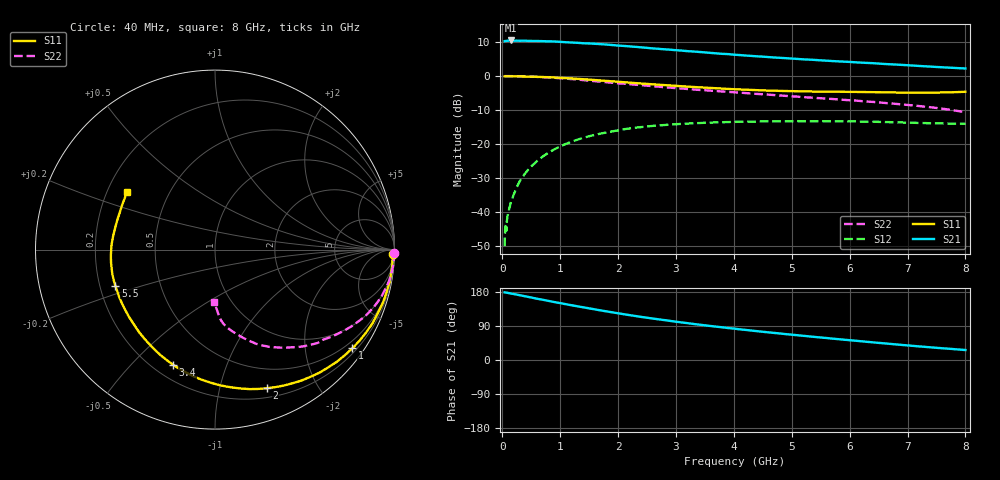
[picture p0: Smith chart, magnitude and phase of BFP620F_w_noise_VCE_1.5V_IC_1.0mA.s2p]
! Infineon Technologies  Discrete & RF Semiconductors
! BFP620F
! VCE =  1.5 V,  IC =  1.0 mA
! Common Emitter S-Parameters:  Dec 2014
# GHz  S  MA  R  50
!  f  S11  S21  S12  S22
! GHz  MAG  ANG  MAG  ANG  MAG  ANG  MAG  ANG
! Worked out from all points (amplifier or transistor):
!   94 points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, 40 MHz to 8 GHz, reference 50 ohm
!   highest |S21| = 10.5 dB at 150 MHz (marker M1)
!   |S21| within 3 dB of that: start of sweep to 3.105 GHz
!   unconditionally stable (mu >= 1): 7.07 GHz to end of sweep
!   at 350 MHz: K = 0.01, MSG = 20.1 dB, |S12| = -29.7 dB
!   at 3.4 GHz: K = 0.46, MSG = 10.5 dB, |S12| = -13.9 dB
!   at 8 GHz: K = 1.16, MAG = 5.7 dB, |S12| = -14.1 dB
!   lowest NFmin = 0.63 dB at 450 MHz
!   S11 on the Smith chart (normalised r, x): 40 MHz: 25, -74; 1 GHz: 0.31, -3.08; 2 GHz: 0.29, -1.40; 3.4 GHz: 0.28, -0.66; 5.5 GHz: 0.26, -0.16; 8 GHz: 0.28, +0.28
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0.04  0.9919 -1.4  3.27 178.4  0.0031 93.8  0.9995 -1.0
0.05  0.9922 -1.8  3.293 178.3  0.0058 93.3  0.9985 -1.1
0.06  0.9921 -2.2  3.291 178.3  0.0066 79.8  1 -1.4
0.07  0.991 -2.5  3.294 177.8  0.0052 89.3  0.9996 -1.6
0.08  0.9915 -2.9  3.309 177.5  0.0074 88.7  0.9984 -1.8
0.09  0.9914 -3.2  3.316 177.2  0.0086 86.5  1 -2.1
0.15  0.9906 -5.4  3.352 175.5  0.0139 86.4  0.998 -3.4
0.3  0.9889 -10.7  3.312 171.0  0.0281 84.3  0.9939 -6.7
0.45  0.983 -16.1  3.297 166.4  0.0419 81.2  0.9852 -10.1
0.7  0.9687 -25.1  3.273 158.9  0.0653 74.9  0.9642 -15.5
1  0.9426 -35.7  3.197 150.1  0.0917 67.8  0.929 -21.7
1.4  0.8998 -49.6  3.047 139.0  0.1228 58.3  0.8718 -29.4
1.7  0.8608 -59.9  2.958 130.8  0.1419 51.8  0.8255 -34.9
2  0.8246 -69.5  2.818 123.3  0.158 46.0  0.7824 -40.1
2.3  0.7885 -79.1  2.699 116.1  0.1733 40.3  0.7465 -45.4
2.7  0.7459 -90.7  2.523 107.3  0.1872 33.6  0.6978 -51.2
3.4  0.6829 -109.9  2.27 93.3  0.2027 23.8  0.625 -60.2
4.1  0.6354 -127.4  2.042 81.0  0.2118 15.8  0.5699 -66.7
5.4  0.5914 -158.0  1.73 60.8  0.2159 4.3  0.4766 -76.7
5.5  0.5907 -160.1  1.706 59.4  0.2161 3.5  0.4713 -77.3
6.7  0.574 174.5  1.493 42.5  0.2091 -4.6  0.3955 -85.1
8  0.5868 146.6  1.294 26.3  0.1977 -8.9  0.2941 -91.1
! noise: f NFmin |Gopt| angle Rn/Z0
0.45  0.63  0.7  11  0.33
0.9  0.82  0.71  21  0.28
1.5  0.98  0.64  33  0.28
1.8  1.05  0.63  37  0.28
1.9  1.07  0.6  46  0.29
2.4  1.19  0.58  59  0.27
3.5  1.44  0.56  83  0.2
5.5  1.85  0.41  143  0.17
6  1.94  0.29  161  0.33
